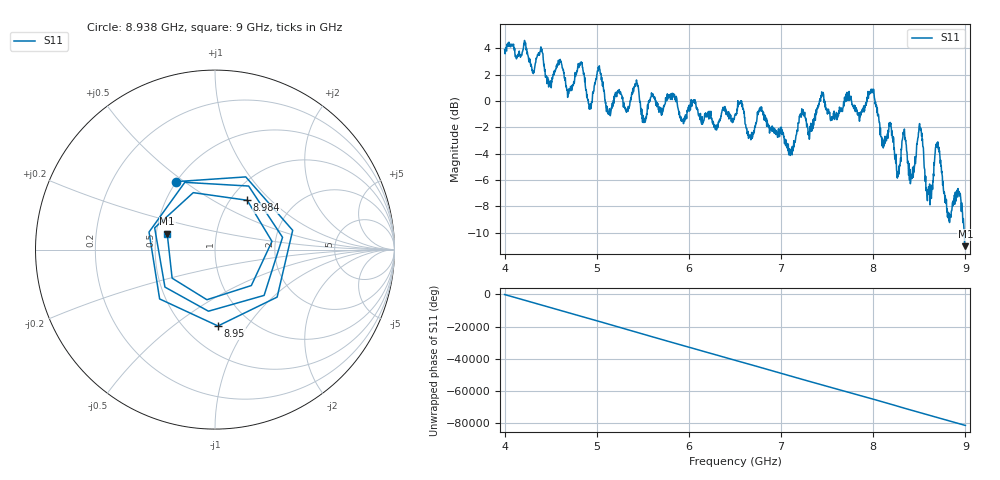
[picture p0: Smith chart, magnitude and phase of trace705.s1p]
! Created with skrf 1.8.0 (http://scikit-rf.org).
# Hz S RI R 50.0
!freq ReS11 ImS11
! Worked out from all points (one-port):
!   1601 points, 4 GHz to 9 GHz, reference 50 ohm
!   lowest |S11| = -11.0 dB at 9 GHz (marker M1), VSWR 1.78, Z = 28.6 + j5.51 ohm
!   |S11| at or under -10 dB: 8.988353 GHz to end of sweep
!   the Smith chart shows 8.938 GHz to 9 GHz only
!   S11 on the Smith chart (normalised r, x): 8.938 GHz: 0.50, +0.47; 8.95 GHz: 0.71, -0.74; 8.984 GHz: 1.19, +0.73; 9 GHz: 0.57, +0.11
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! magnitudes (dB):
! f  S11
! 4 GHz  3.9
! 4.625 GHz  2.5
! 4.703 GHz  0.9
! 4.825 GHz  2.9
! 4.925 GHz  -0.4
! 5.022 GHz  2.4
! 5.125 GHz  -0.8
! 5.25 GHz  0.6
! 5.431 GHz  1.6
! 5.516 GHz  -1.6
! 5.875 GHz  -0.3
! 6.5 GHz  -1.1
! 6.788 GHz  -0.5
! 7.125 GHz  -3.7
! 7.222 GHz  -0.8
! 7.75 GHz  0.3
! 7.988 GHz  0.6
! 8.1 GHz  -2.8
! 8.375 GHz  -4.6
! 8.419 GHz  -5.9
! 8.509 GHz  -2.2
! 8.597 GHz  -6.8
! 8.697 GHz  -3.1
! 8.822 GHz  -9.1
! 8.938 GHz  -7.2
! 8.95 GHz  -7.4
! 8.984 GHz  -9.7
! 9 GHz  -11.0
